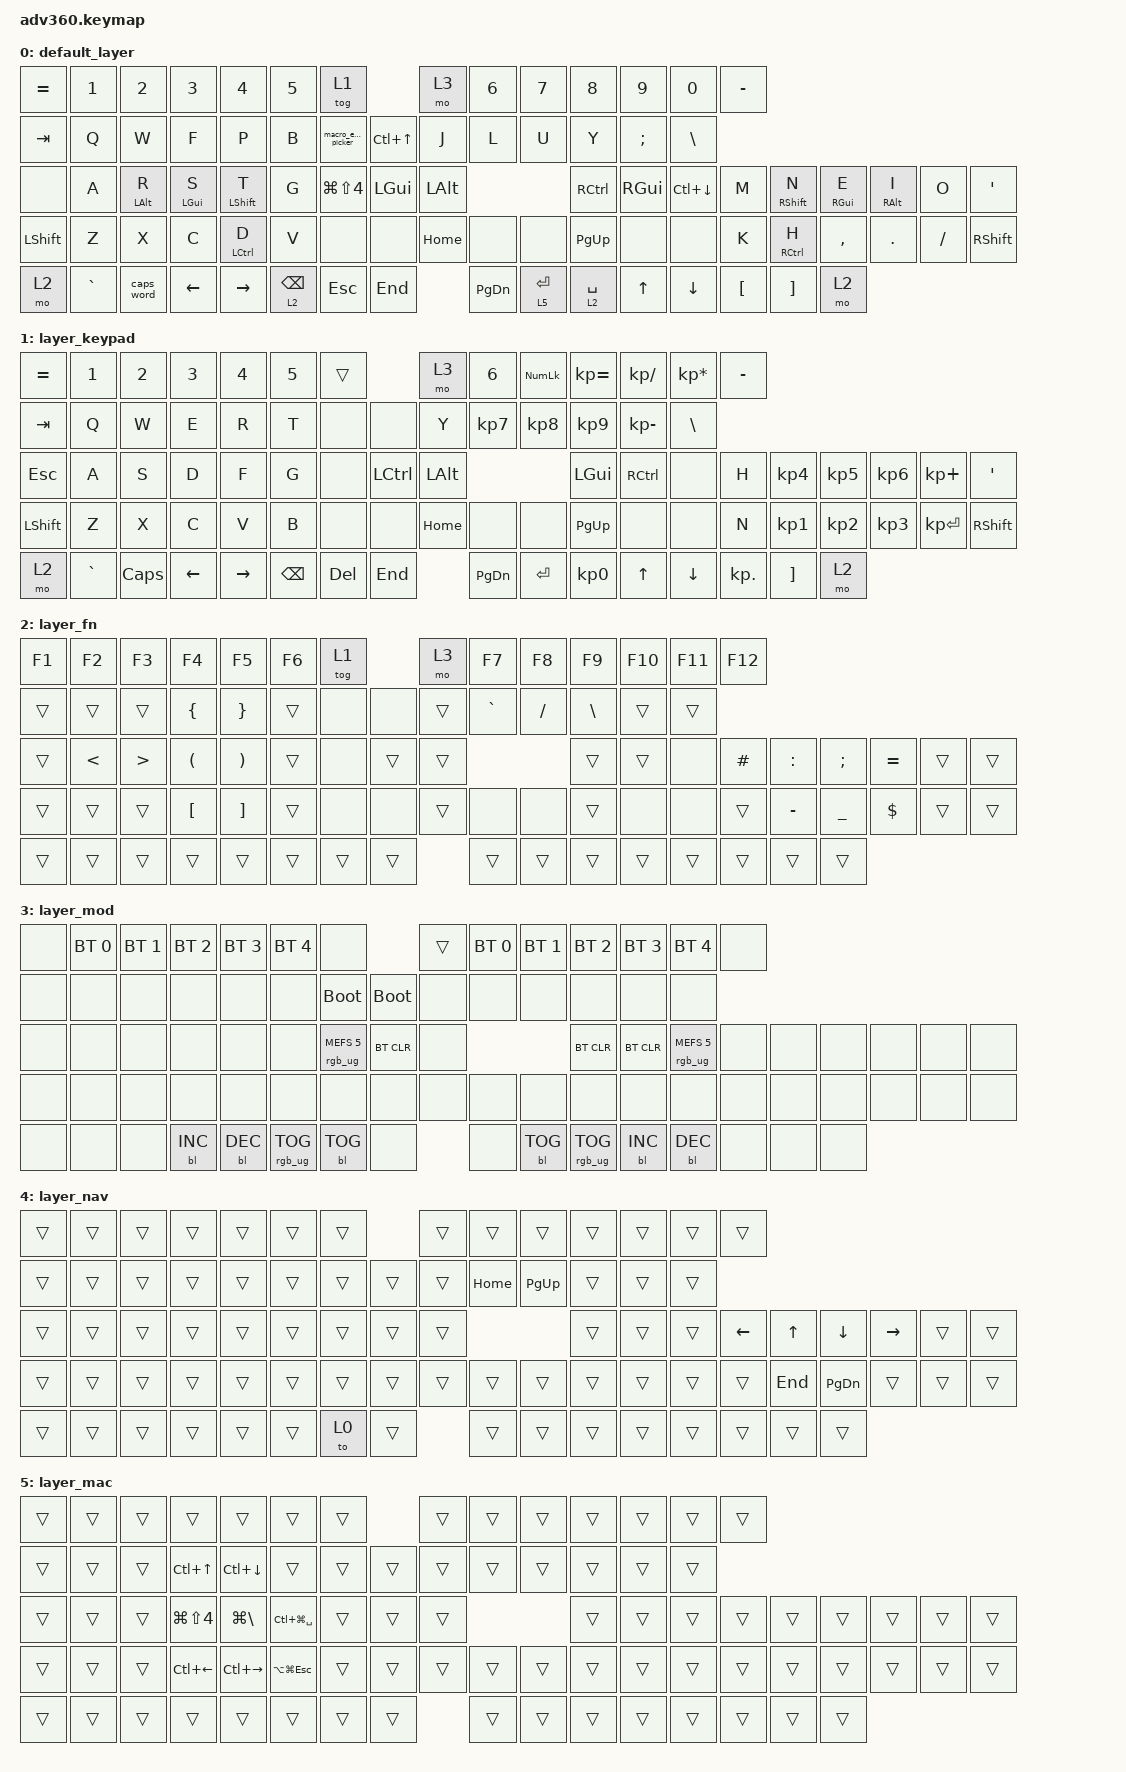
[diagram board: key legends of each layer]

/*
 * Copyright (c) 2020 The ZMK Contributors
 *
 * SPDX-License-Identifier: MIT
 */


/* THIS FILE WAS GENERATED!
 *
 * This file was generated automatically. You may or may not want to
 * edit it directly.
 */

#include <behaviors.dtsi>
#include <dt-bindings/zmk/keys.h>
#include <dt-bindings/zmk/bt.h>
#include <dt-bindings/zmk/rgb.h>
#include <dt-bindings/zmk/backlight.h>


#define KEYS_LEFT 0 1 2 3 4 5 6 \
                  14 15 16 17 18 19 20 \
                  28 29 30 31 32 33 34 \
                  46 47 48 49 50 51 \
                  66 67 68 69 70

#define KEYS_RIGHT 7 8 9 10 11 12 13 \
                   21 22 23 24 25 26 27 \
                   39 40 41 42 43 44 45 \
                   60 61 62 63 64 65 \
                   77 78 79 80 81

#define THUMBS_LEFT 35 36 54 71 72 73

#define THUMBS_RIGHT 37 38 57 74 75 76

#define THUMBS THUMBS_LEFT THUMBS_RIGHT

&lt {
    quick-tap-ms = <300>;
    global-quick-tap;
};

/ {


  behaviors {
    #include "macros.dtsi"

    hm: homerow_mods {
        compatible = "zmk,behavior-hold-tap";
        label = "HOMEROW_MODS";
        #binding-cells = <2>;
        tapping-term-ms = <200>;
        quick_tap_ms = <175>;
        #flavor = "tap-preferred";
        flavor = "balanced";
        bindings = <&kp>, <&kp>;
    };

    hm_l: homerow_mods_left {
        compatible = "zmk,behavior-hold-tap";
        label = "HOMEROW_MODS_LEFT";
        #binding-cells = <2>;
        tapping-term-ms = <200>;
        quick_tap_ms = <175>;
        flavor = "balanced";
        bindings = <&kp>, <&kp>;
        hold-trigger-key-positions = <KEYS_RIGHT THUMBS>;
    };

    hm_r: homerow_mods_right {
        compatible = "zmk,behavior-hold-tap";
        label = "HOMEROW_MODS_RIGHT";
        #binding-cells = <2>;
        tapping-term-ms = <200>;
        quick_tap_ms = <175>;
        flavor = "balanced";
        bindings = <&kp>, <&kp>;
        hold-trigger-key-positions = <KEYS_LEFT THUMBS>;
    };
  };

    // Home row mods
    #define _T_SFT &hm_l LSHFT T  // Shift on index fingers
    #define _N_SFT &hm_r RSHFT N
    #define _S_CMD &hm_l LGUI S   // Command on middle fingers
    #define _E_CMD &hm_r RGUI E
    #define _D_CTL &hm_l LCTRL D  // Control on index down
    #define _H_CTL &hm_r RCTRL H
    #define _R_OPT &hm_l LALT R   // Option on ring finger
    #define _I_OPT &hm_r RALT I

    // MacOS shortcuts
    #define _1PASS &kp LG(BSLH)      // 1Password
    #define _APEX  &kp LC(UP)        // App exposé
    #define _FQUIT &kp LA(LG(ESC))   // Force quit
    #define _MCTL  &kp LC(DOWN)      // Mission control
    #define _SCRNS &kp LG(LS(N4))    // Screenshot
    #define _EMOJI &kp LC(LG(SPACE)) // Emoji picker
    #define _NEXTS &kp LC(RIGHT)     // Next screen
    #define _PREVS &kp LC(LEFT)      // Previous screen

    keymap {
        compatible = "zmk,keymap";


        default_layer {
            bindings = <
 &kp EQUAL      &kp N1      &kp N2    &kp N3       &kp N4           &kp N5                          &tog 1             &mo 3     &kp N6       &kp N7       &kp N8     &kp N9    &kp N0           &kp MINUS
   &kp TAB      &kp Q       &kp W     &kp F        &kp P            &kp B             &macro_emoji_picker  &kp LC(UP_ARROW)      &kp J        &kp L        &kp U      &kp Y  &kp SEMI            &kp BSLH
   &none        &kp A       _R_OPT    _S_CMD       _T_SFT           &kp G            &kp LG(LS(NUMBER_4))          &kp LGUI   &kp LALT                            &kp RCTRL  &kp RGUI  &kp LC(DOWN_ARROW)    &kp M  _N_SFT   _E_CMD   _I_OPT   &kp O    &kp SQT
 &kp LSHFT      &kp Z       &kp X     &kp C        _D_CTL           &kp V            &none             &none   &kp HOME        &none        &none  &kp PG_UP     &none               &none     &kp K  _H_CTL   &kp COMMA  &kp DOT  &kp FSLH  &kp RSHFT
     &mo 2  &kp GRAVE  &caps_word  &kp LEFT    &kp RIGHT  &lt 2 BACKSPACE                           &kp ESC           &kp END  &kp PG_DN  &lt 5 ENTER  &lt 2 SPACE     &kp UP  &kp DOWN            &kp LBKT  &kp RBKT        &mo 2
            >;
        };

        layer_keypad {
            bindings = <
 &kp EQUAL     &kp N1    &kp N2    &kp N3     &kp N4    &kp N5             &trans      &mo 3     &kp N6  &kp KP_NUM  &kp KP_EQUAL  &kp KP_DIVIDE  &kp KP_MULTIPLY   &kp MINUS
   &kp TAB      &kp Q     &kp W     &kp E      &kp R     &kp T              &none      &none      &kp Y   &kp KP_N7     &kp KP_N8      &kp KP_N9     &kp KP_MINUS    &kp BSLH
   &kp ESC      &kp A     &kp S     &kp D      &kp F     &kp G              &none  &kp LCTRL   &kp LALT                                 &kp LGUI        &kp RCTRL       &none     &kp H  &kp KP_N4  &kp KP_N5  &kp KP_N6   &kp KP_PLUS    &kp SQT
 &kp LSHFT      &kp Z     &kp X     &kp C      &kp V     &kp B              &none      &none   &kp HOME       &none         &none      &kp PG_UP            &none       &none     &kp N  &kp KP_N1  &kp KP_N2  &kp KP_N3  &kp KP_ENTER  &kp RSHFT
     &mo 2  &kp GRAVE  &kp CAPS  &kp LEFT  &kp RIGHT  &kp BSPC            &kp DEL    &kp END  &kp PG_DN   &kp ENTER     &kp KP_N0         &kp UP         &kp DOWN  &kp KP_DOT  &kp RBKT      &mo 2
            >;
        };

        layer_fn {
            bindings = <
 &kp F1  &kp F2  &kp F3                &kp F4                 &kp F5  &kp F6            &tog 1   &mo 3  &kp F7     &kp F8     &kp F9        &kp F10  &kp F11  &kp F12
 &trans  &trans  &trans        &kp LEFT_BRACE        &kp RIGHT_BRACE  &trans             &none   &none  &trans  &kp GRAVE  &kp SLASH  &kp BACKSLASH   &trans   &trans
 &trans  &kp LT  &kp GT  &kp LEFT_PARENTHESIS  &kp RIGHT_PARENTHESIS  &trans             &none  &trans  &trans                               &trans   &trans    &none  &kp HASH  &kp COLON        &kp SEMI   &kp EQUAL  &trans  &trans
 &trans  &trans  &trans      &kp LEFT_BRACKET      &kp RIGHT_BRACKET  &trans             &none   &none  &trans      &none      &none         &trans    &none    &none    &trans  &kp MINUS  &kp UNDERSCORE  &kp DOLLAR  &trans  &trans
 &trans  &trans  &trans                &trans                 &trans  &trans            &trans  &trans  &trans     &trans     &trans         &trans   &trans   &trans    &trans     &trans
            >;
        };

        layer_mod {
            bindings = <
  &none  &bt BT_SEL 0  &bt BT_SEL 1  &bt BT_SEL 2  &bt BT_SEL 3     &bt BT_SEL 4                             &none       &trans  &bt BT_SEL 0  &bt BT_SEL 1     &bt BT_SEL 2  &bt BT_SEL 3  &bt BT_SEL 4                   &none
  &none         &none         &none         &none         &none            &none                       &bootloader  &bootloader         &none         &none            &none         &none         &none                   &none
  &none         &none         &none         &none         &none            &none            &rgb_ug RGB_MEFS_CMD 5   &bt BT_CLR         &none                                   &bt BT_CLR    &bt BT_CLR  &rgb_ug RGB_MEFS_CMD 5   &none   &none   &none   &none   &none   &none
  &none         &none         &none         &none         &none            &none                             &none        &none         &none         &none            &none         &none         &none                   &none   &none   &none   &none   &none   &none   &none
  &none         &none         &none    &bl BL_INC    &bl BL_DEC  &rgb_ug RGB_TOG                        &bl BL_TOG        &none         &none    &bl BL_TOG  &rgb_ug RGB_TOG    &bl BL_INC    &bl BL_DEC                   &none   &none   &none
            >;
        };

        layer_nav {
            bindings = <
 &trans  &trans  &trans  &trans  &trans  &trans            &trans  &trans  &trans    &trans     &trans  &trans  &trans  &trans
 &trans  &trans  &trans  &trans  &trans  &trans            &trans  &trans  &trans  &kp HOME  &kp PG_UP  &trans  &trans  &trans
 &trans  &trans  &trans  &trans  &trans  &trans            &trans  &trans  &trans                       &trans  &trans  &trans  &kp LEFT_ARROW  &kp UP_ARROW  &kp DOWN_ARROW  &kp RIGHT_ARROW  &trans  &trans
 &trans  &trans  &trans  &trans  &trans  &trans            &trans  &trans  &trans    &trans     &trans  &trans  &trans  &trans          &trans       &kp END       &kp PG_DN           &trans  &trans  &trans
 &trans  &trans  &trans  &trans  &trans  &trans             &to 0  &trans  &trans    &trans     &trans  &trans  &trans  &trans          &trans        &trans
            >;
        };

        layer_mac {
            bindings = <
 &trans  &trans  &trans  &trans  &trans  &trans  &trans  &trans  &trans  &trans  &trans  &trans  &trans  &trans
 &trans  &trans  &trans  _APEX   _MCTL   &trans  &trans  &trans  &trans  &trans  &trans  &trans  &trans  &trans
 &trans  &trans  &trans  _SCRNS  _1PASS  _EMOJI  &trans  &trans  &trans                  &trans  &trans  &trans  &trans  &trans  &trans  &trans  &trans  &trans
 &trans  &trans  &trans  _PREVS  _NEXTS  _FQUIT  &trans  &trans  &trans  &trans  &trans  &trans  &trans  &trans  &trans  &trans  &trans  &trans  &trans  &trans
 &trans  &trans  &trans  &trans  &trans  &trans  &trans  &trans  &trans  &trans  &trans  &trans  &trans  &trans  &trans  &trans
            >;
        };

    };
};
